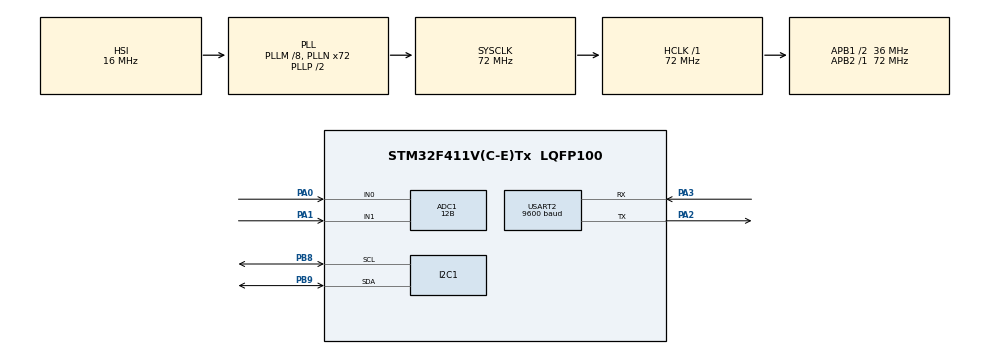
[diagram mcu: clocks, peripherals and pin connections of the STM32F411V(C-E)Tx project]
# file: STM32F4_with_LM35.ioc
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ADC1.Channel-0\#ChannelRegularConversion=ADC_CHANNEL_0
ADC1.Channel-2\#ChannelRegularConversion=ADC_CHANNEL_0
ADC1.ContinuousConvMode=ENABLE
ADC1.NbrOfConversion=2
ADC1.NbrOfConversionFlag=1
ADC1.Rank-0\#ChannelRegularConversion=1
ADC1.Rank-2\#ChannelRegularConversion=2
ADC1.Resolution=ADC_RESOLUTION_12B
ADC1.SamplingTime-0\#ChannelRegularConversion=ADC_SAMPLETIME_3CYCLES
ADC1.SamplingTime-2\#ChannelRegularConversion=ADC_SAMPLETIME_3CYCLES
ADC1.ScanConvMode=ENABLE
ADC1.master=1
Mcu.Family=STM32F4
Mcu.Name=STM32F411V(C-E)Tx
Mcu.Package=LQFP100
NVIC.PriorityGroup=NVIC_PRIORITYGROUP_4
NVIC.USART2_IRQn=true\:0\:0\:false\:false\:true\:true\:true
PA0-WKUP.Signal=ADCx_IN0
PA1.Signal=ADCx_IN1
PA2.Mode=Asynchronous
PA2.Signal=USART2_TX
PA3.Mode=Asynchronous
PA3.Signal=USART2_RX
PB8.Mode=I2C
PB8.Signal=I2C1_SCL
PB9.Mode=I2C
PB9.Signal=I2C1_SDA
PH0\ -\ OSC_IN.Mode=HSE-External-Oscillator
PH0\ -\ OSC_IN.Signal=RCC_OSC_IN
PH1\ -\ OSC_OUT.Mode=HSE-External-Oscillator
PH1\ -\ OSC_OUT.Signal=RCC_OSC_OUT
ProjectManager.HeapSize=0x200
ProjectManager.StackSize=0x400
ProjectManager.TargetToolchain=STM32CubeIDE
RCC.48MHZClocksFreq_Value=36000000
RCC.AHBFreq_Value=72000000
RCC.APB1CLKDivider=RCC_HCLK_DIV2
RCC.APB1Freq_Value=36000000
RCC.APB1TimFreq_Value=72000000
RCC.APB2Freq_Value=72000000
RCC.APB2TimFreq_Value=72000000
RCC.CortexFreq_Value=72000000
RCC.HCLKFreq_Value=72000000
RCC.HSE_VALUE=25000000
RCC.HSI_VALUE=16000000
RCC.LSE_VALUE=32768
RCC.PLLM=8
RCC.PLLN=72
RCC.SYSCLKFreq_VALUE=72000000
RCC.SYSCLKSource=RCC_SYSCLKSOURCE_PLLCLK
RCC.VCOOutputFreq_Value=144000000
SH.ADCx_IN0.0=ADC1_IN0,IN0
SH.ADCx_IN1.0=ADC1_IN1,IN1
USART2.BaudRate=9600
USART2.VirtualMode=VM_ASYNC
board=custom

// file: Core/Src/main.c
/* USER CODE BEGIN Header */
/**
  ******************************************************************************
  * @file           : main.c
  * @brief          : Main program body
  ******************************************************************************
  * @attention
  *
  * Copyright (c) 2022 STMicroelectronics.
  * All rights reserved.
  *
  * This software is licensed under terms that can be found in the LICENSE file
  * in the root directory of this software component.
  * If no LICENSE file comes with this software, it is provided AS-IS.
  *
  ******************************************************************************
  */
/* USER CODE END Header */
#include "main.h"

/* USER CODE BEGIN Includes */
#include "i2c-lcd.h"
/* USER CODE END Includes */

ADC_HandleTypeDef hadc1;

I2C_HandleTypeDef hi2c1;

UART_HandleTypeDef huart2;

void SystemClock_Config(void);
static void MX_GPIO_Init(void);
static void MX_I2C1_Init(void);
static void MX_ADC1_Init(void);
static void MX_USART2_UART_Init(void);
/* USER CODE BEGIN PFP */
void temp_conv(uint16_t temp_var);
void print_char(uint32_t num_var);
/* USER CODE END PFP */

/* USER CODE BEGIN 0 */
void ADC_Select_CH0 (void)
{
	  ADC_ChannelConfTypeDef sConfig = {0};
	  /** Configure for the selected ADC regular channel its corresponding rank in the sequencer and its sample time.
	  */
	  sConfig.Channel = ADC_CHANNEL_0;
	  sConfig.Rank = 1;
	  sConfig.SamplingTime = ADC_SAMPLETIME_3CYCLES;
	  if (HAL_ADC_ConfigChannel(&hadc1, &sConfig) != HAL_OK)
	  {
	    Error_Handler();
	  }
}

void ADC_Select_CH1 (void)
{
	  ADC_ChannelConfTypeDef sConfig = {0};
	  /** Configure for the selected ADC regular channel its corresponding rank in the sequencer and its sample time.
	  */
	  sConfig.Channel = ADC_CHANNEL_1;
	  sConfig.Rank = 1;
	  if (HAL_ADC_ConfigChannel(&hadc1, &sConfig) != HAL_OK)
	  {
	    Error_Handler();
	  }
}
/* USER CODE END 0 */

int main(void)
{
  /* USER CODE BEGIN 1 */
	uint16_t ADC_val0;
	uint16_t ADC_val1;
	uint8_t Rx_data[10] = {0,0,0,0,0,0,0,0,0,0,0};
  /* USER CODE END 1 */

  /* MCU Configuration--------------------------------------------------------*/

  /* Reset of all peripherals, Initializes the Flash interface and the Systick. */
  HAL_Init();

  /* Configure the system clock */
  SystemClock_Config();

  /* Initialize all configured peripherals */
  MX_GPIO_Init();
  MX_I2C1_Init();
  MX_ADC1_Init();
  MX_USART2_UART_Init();
  /* USER CODE BEGIN 2 */
  lcd_clear();
  lcd_init();
  /* USER CODE END 2 */

  /* Infinite loop */
  /* USER CODE BEGIN WHILE */
  while (1)
  {
	  HAL_UART_Receive (&huart2, Rx_data, 4, 100);
	  if (Rx_data[0] == 49)
	  {
		  lcd_put_cur(0,0);
		  lcd_send_string("Temp1: ");
		  lcd_put_cur(1,0);
		  lcd_send_string("Temp2: ");

		  ADC_Select_CH0();
		  HAL_ADC_Start(&hadc1);
		  HAL_ADC_PollForConversion(&hadc1, 100);
		  ADC_val0 = HAL_ADC_GetValue(&hadc1);
		  HAL_ADC_Stop(&hadc1);
		  lcd_put_cur(0,7);
		  temp_conv(ADC_val0);
		  HAL_Delay(250);

		  ADC_Select_CH1();
		  HAL_ADC_Start(&hadc1);
		  HAL_ADC_PollForConversion(&hadc1, 100);
		  ADC_val1 = HAL_ADC_GetValue(&hadc1);
		  HAL_ADC_Stop(&hadc1);
		  lcd_put_cur(1,7);
		  temp_conv(ADC_val1);
		  HAL_Delay(250);
	  }
	  if (Rx_data[0] == 48)
	  {
		  lcd_clear();
	  }
    /* USER CODE END WHILE */

  }
}

void SystemClock_Config(void)
{
  RCC_OscInitTypeDef RCC_OscInitStruct = {0};
  RCC_ClkInitTypeDef RCC_ClkInitStruct = {0};

  /** Configure the main internal regulator output voltage
  */
  __HAL_RCC_PWR_CLK_ENABLE();
  __HAL_PWR_VOLTAGESCALING_CONFIG(PWR_REGULATOR_VOLTAGE_SCALE1);
  /** Initializes the RCC Oscillators according to the specified parameters
  * in the RCC_OscInitTypeDef structure.
  */
  RCC_OscInitStruct.OscillatorType = RCC_OSCILLATORTYPE_HSI;
  RCC_OscInitStruct.HSIState = RCC_HSI_ON;
  RCC_OscInitStruct.HSICalibrationValue = RCC_HSICALIBRATION_DEFAULT;
  RCC_OscInitStruct.PLL.PLLState = RCC_PLL_ON;
  RCC_OscInitStruct.PLL.PLLSource = RCC_PLLSOURCE_HSI;
  RCC_OscInitStruct.PLL.PLLM = 8;
  RCC_OscInitStruct.PLL.PLLN = 72;
  RCC_OscInitStruct.PLL.PLLP = RCC_PLLP_DIV2;
  RCC_OscInitStruct.PLL.PLLQ = 4;
  if (HAL_RCC_OscConfig(&RCC_OscInitStruct) != HAL_OK)
  {
    Error_Handler();
  }
  /** Initializes the CPU, AHB and APB buses clocks
  */
  RCC_ClkInitStruct.ClockType = RCC_CLOCKTYPE_HCLK|RCC_CLOCKTYPE_SYSCLK
                              |RCC_CLOCKTYPE_PCLK1|RCC_CLOCKTYPE_PCLK2;
  RCC_ClkInitStruct.SYSCLKSource = RCC_SYSCLKSOURCE_PLLCLK;
  RCC_ClkInitStruct.AHBCLKDivider = RCC_SYSCLK_DIV1;
  RCC_ClkInitStruct.APB1CLKDivider = RCC_HCLK_DIV2;
  RCC_ClkInitStruct.APB2CLKDivider = RCC_HCLK_DIV1;

  if (HAL_RCC_ClockConfig(&RCC_ClkInitStruct, FLASH_LATENCY_2) != HAL_OK)
  {
    Error_Handler();
  }
}

static void MX_ADC1_Init(void)
{

  ADC_ChannelConfTypeDef sConfig = {0};

  /** Configure the global features of the ADC (Clock, Resolution, Data Alignment and number of conversion)
  */
  hadc1.Instance = ADC1;
  hadc1.Init.ClockPrescaler = ADC_CLOCK_SYNC_PCLK_DIV2;
  hadc1.Init.Resolution = ADC_RESOLUTION_12B;
  hadc1.Init.ScanConvMode = ENABLE;
  hadc1.Init.ContinuousConvMode = ENABLE;
  hadc1.Init.DiscontinuousConvMode = DISABLE;
  hadc1.Init.ExternalTrigConvEdge = ADC_EXTERNALTRIGCONVEDGE_NONE;
  hadc1.Init.ExternalTrigConv = ADC_SOFTWARE_START;
  hadc1.Init.DataAlign = ADC_DATAALIGN_RIGHT;
  hadc1.Init.NbrOfConversion = 1;
  hadc1.Init.DMAContinuousRequests = DISABLE;
  hadc1.Init.EOCSelection = ADC_EOC_SINGLE_CONV;
  if (HAL_ADC_Init(&hadc1) != HAL_OK)
  {
    Error_Handler();
  }
//  /** Configure for the selected ADC regular channel its corresponding rank in the sequencer and its sample time.
//  */
//  sConfig.Channel = ADC_CHANNEL_0;
//  sConfig.Rank = 1;
//  sConfig.SamplingTime = ADC_SAMPLETIME_3CYCLES;
//  if (HAL_ADC_ConfigChannel(&hadc1, &sConfig) != HAL_OK)
//  {
//    Error_Handler();
//  }
//  /** Configure for the selected ADC regular channel its corresponding rank in the sequencer and its sample time.
//  */
//  sConfig.Rank = 2;
//  if (HAL_ADC_ConfigChannel(&hadc1, &sConfig) != HAL_OK)
//  {
//    Error_Handler();
//  }
//  /* USER CODE BEGIN ADC1_Init 2 */
////
//  /* USER CODE END ADC1_Init 2 */

}

static void MX_I2C1_Init(void)
{

  hi2c1.Instance = I2C1;
  hi2c1.Init.ClockSpeed = 100000;
  hi2c1.Init.DutyCycle = I2C_DUTYCYCLE_2;
  hi2c1.Init.OwnAddress1 = 0;
  hi2c1.Init.AddressingMode = I2C_ADDRESSINGMODE_7BIT;
  hi2c1.Init.DualAddressMode = I2C_DUALADDRESS_DISABLE;
  hi2c1.Init.OwnAddress2 = 0;
  hi2c1.Init.GeneralCallMode = I2C_GENERALCALL_DISABLE;
  hi2c1.Init.NoStretchMode = I2C_NOSTRETCH_DISABLE;
  if (HAL_I2C_Init(&hi2c1) != HAL_OK)
  {
    Error_Handler();
  }

}

static void MX_USART2_UART_Init(void)
{

  huart2.Instance = USART2;
  huart2.Init.BaudRate = 9600;
  huart2.Init.WordLength = UART_WORDLENGTH_8B;
  huart2.Init.StopBits = UART_STOPBITS_1;
  huart2.Init.Parity = UART_PARITY_NONE;
  huart2.Init.Mode = UART_MODE_TX_RX;
  huart2.Init.HwFlowCtl = UART_HWCONTROL_NONE;
  huart2.Init.OverSampling = UART_OVERSAMPLING_16;
  if (HAL_UART_Init(&huart2) != HAL_OK)
  {
    Error_Handler();
  }

}

static void MX_GPIO_Init(void)
{

  /* GPIO Ports Clock Enable */
  __HAL_RCC_GPIOH_CLK_ENABLE();
  __HAL_RCC_GPIOA_CLK_ENABLE();
  __HAL_RCC_GPIOB_CLK_ENABLE();

}

/* USER CODE BEGIN 4 */
void temp_conv(uint16_t temp_var)
{
	uint32_t var1 = 0;
	var1 = temp_var * 3 * 100 * 1000 / 4095;
	if ((var1 - (var1/10)*10) >= 5)
	{
		var1 = (var1 + 10)/10;
	}
	else
	{
		var1 = var1/10;
	}
	print_char_ADC(temp_var);
	print_char(var1);
}
void print_char_ADC(uint32_t num_var)
{
	uint8_t char_num_var[] = {"0000\r\n"};
	uint8_t i = 3;
	while(num_var != 0)
	{
		char_num_var[i] = (num_var % 10) + 48;
		num_var = num_var/10;
		i--;
	}
	HAL_UART_Transmit(&huart2, &char_num_var[0], 6, 0xFFFF);
	HAL_Delay(1);
}
void print_char(uint32_t num_var)
{
	uint8_t char_num_var[] = {"000000\r\n"};
	uint8_t i = 5;
	while(num_var != 0)
	{
		char_num_var[i] = (num_var % 10) + 48;
		num_var = num_var/10;
		i--;
		if (i == 3)
		{
			char_num_var[i] = '.';
			i--;
		}
	}
	char_num_var[i] = (num_var % 10) + 48;
	for (i = 0; i <= 5; i++)
	{
	lcd_send_data(char_num_var[i]);
	}
	HAL_Delay(1);
}

/* USER CODE END 4 */

void Error_Handler(void)
{
  __disable_irq();
  while (1)
  {
  }
}
